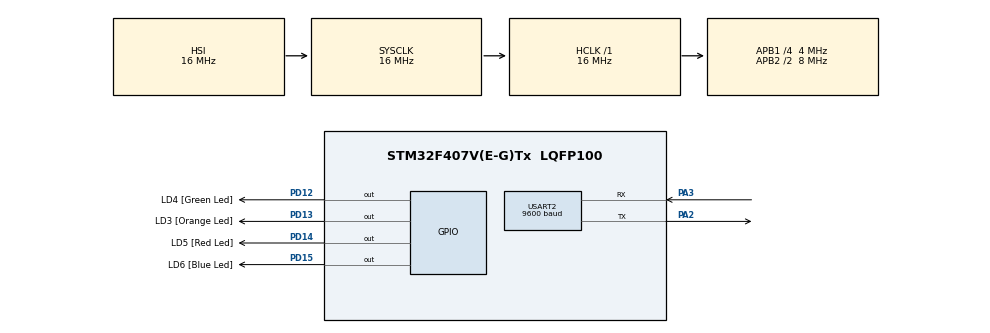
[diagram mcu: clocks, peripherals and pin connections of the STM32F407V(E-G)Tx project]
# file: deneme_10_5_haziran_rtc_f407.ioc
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Mcu.Family=STM32F4
Mcu.Name=STM32F407V(E-G)Tx
Mcu.Package=LQFP100
NVIC.PriorityGroup=NVIC_PRIORITYGROUP_0
NVIC.RCC_IRQn=true\:0\:0\:false\:false\:true\:true\:false\:true
NVIC.USART2_IRQn=true\:0\:0\:false\:false\:true\:true\:true\:true
PA13.Mode=Serial_Wire
PA13.Signal=SYS_JTMS-SWDIO
PA14.Mode=Serial_Wire
PA14.Signal=SYS_JTCK-SWCLK
PA2.Mode=Asynchronous
PA2.Signal=USART2_TX
PA3.Mode=Asynchronous
PA3.Signal=USART2_RX
PC14-OSC32_IN.GPIO_Label=PC14-OSC32_IN
PC14-OSC32_IN.Mode=LSE-External-Oscillator
PC14-OSC32_IN.Signal=RCC_OSC32_IN
PC15-OSC32_OUT.GPIO_Label=PC15-OSC32_OUT
PC15-OSC32_OUT.Mode=LSE-External-Oscillator
PC15-OSC32_OUT.Signal=RCC_OSC32_OUT
PD12.GPIO_Label=LD4 [Green Led]
PD12.GPIO_PuPd=GPIO_NOPULL
PD12.GPIO_Speed=GPIO_SPEED_FREQ_LOW
PD12.Signal=GPIO_Output
PD13.GPIO_Label=LD3 [Orange Led]
PD13.GPIO_PuPd=GPIO_NOPULL
PD13.GPIO_Speed=GPIO_SPEED_FREQ_LOW
PD13.Signal=GPIO_Output
PD14.GPIO_Label=LD5 [Red Led]
PD14.GPIO_PuPd=GPIO_NOPULL
PD14.GPIO_Speed=GPIO_SPEED_FREQ_LOW
PD14.Signal=GPIO_Output
PD15.GPIO_Label=LD6 [Blue Led]
PD15.GPIO_PuPd=GPIO_NOPULL
PD15.GPIO_Speed=GPIO_SPEED_FREQ_LOW
PD15.Signal=GPIO_Output
PH0-OSC_IN.Mode=HSE-External-Oscillator
PH0-OSC_IN.Signal=RCC_OSC_IN
PH1-OSC_OUT.Mode=HSE-External-Oscillator
PH1-OSC_OUT.Signal=RCC_OSC_OUT
ProjectManager.HeapSize=0x200
ProjectManager.StackSize=0x400
ProjectManager.TargetToolchain=STM32CubeIDE
RCC.48MHZClocksFreq_Value=48000000
RCC.AHBFreq_Value=16000000
RCC.APB1CLKDivider=RCC_HCLK_DIV4
RCC.APB1Freq_Value=4000000
RCC.APB1TimFreq_Value=8000000
RCC.APB2CLKDivider=RCC_HCLK_DIV2
RCC.APB2Freq_Value=8000000
RCC.APB2TimFreq_Value=16000000
RCC.CortexFreq_Value=16000000
RCC.HCLKFreq_Value=16000000
RCC.HSE_VALUE=8000000
RCC.HSI_VALUE=16000000
RCC.PLLM=8
RCC.PLLN=168
RCC.PLLQ=7
RCC.SYSCLKFreq_VALUE=16000000
RCC.VCOOutputFreq_Value=336000000
RTC.Format=RTC_FORMAT_BIN
USART2.BaudRate=9600
USART2.VirtualMode=VM_ASYNC
VP_RTC_VS_RTC_Activate.Mode=RTC_Enabled
VP_RTC_VS_RTC_Calendar.Mode=RTC_Calendar
board=STM32F407G-DISC1

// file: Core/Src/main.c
/* USER CODE BEGIN Header */
/**
  ******************************************************************************
  * @file           : main.c
  * @brief          : Main program body
  ******************************************************************************
  * @attention
  *
  * Copyright (c) 2023 STMicroelectronics.
  * All rights reserved.
  *
  * This software is licensed under terms that can be found in the LICENSE file
  * in the root directory of this software component.
  * If no LICENSE file comes with this software, it is provided AS-IS.
  *
  ******************************************************************************
  */
/* USER CODE END Header */
#include "main.h"

RTC_HandleTypeDef hrtc;

UART_HandleTypeDef huart2;

void SystemClock_Config(void);
static void MX_GPIO_Init(void);
static void MX_RTC_Init(void);
static void MX_USART2_UART_Init(void);

/* USER CODE BEGIN 0 */

RTC_TimeTypeDef sTime;
RTC_DateTypeDef sDate;

uint8_t hour, minute, second;
uint8_t day, month, year;

char text_1[20];
char text_2[20];

/* USER CODE END 0 */

int main(void)
{

  /* MCU Configuration--------------------------------------------------------*/

  /* Reset of all peripherals, Initializes the Flash interface and the Systick. */
  HAL_Init();

  /* Configure the system clock */
  SystemClock_Config();

  /* Initialize all configured peripherals */
  MX_GPIO_Init();
  MX_RTC_Init();
  MX_USART2_UART_Init();
  /* USER CODE BEGIN 2 */

  sTime.Hours = 17;
  sTime.Minutes = 25;
  sTime.Seconds = 00;
  HAL_RTC_SetTime(&hrtc, &sTime,RTC_FORMAT_BIN);

  sDate.Date = 05;
  sDate.Month = RTC_MONTH_JUNE;
  sDate.WeekDay = RTC_WEEKDAY_MONDAY;
  sDate.Year = 23;
  HAL_RTC_SetDate(&hrtc, &sDate, RTC_FORMAT_BIN);

  /* USER CODE END 2 */

  /* Infinite loop */
  while (1)
  {

    /* USER CODE BEGIN 3 */
	  HAL_RTC_GetTime(&hrtc, &sTime, RTC_FORMAT_BIN);
	  HAL_RTC_GetDate(&hrtc, &sDate, RTC_FORMAT_BIN);
	  HAL_GPIO_TogglePin(GPIOD, GPIO_PIN_13);

	  hour = sTime.Hours;
	  minute = sTime.Minutes;
	  second = sTime.Seconds;

	  day = sDate.Date;
	  month = sDate.Month;
	  year = sDate.Year;

	  HAL_UART_Transmit(&huart2, (uint8_t*)text_1, sprintf(text_1, "Time: %d: %d: %d\n", hour, minute, second), 100);
	  HAL_UART_Transmit(&huart2, (uint8_t*)text_2, sprintf(text_2, "Date: %d: %d: 20%d\n", day, month, year), 100);
	  HAL_Delay(100);

  }
  /* USER CODE END 3 */
}

void SystemClock_Config(void)
{
  RCC_OscInitTypeDef RCC_OscInitStruct = {0};
  RCC_ClkInitTypeDef RCC_ClkInitStruct = {0};

  /** Configure the main internal regulator output voltage
  */
  __HAL_RCC_PWR_CLK_ENABLE();
  __HAL_PWR_VOLTAGESCALING_CONFIG(PWR_REGULATOR_VOLTAGE_SCALE1);

  /** Initializes the RCC Oscillators according to the specified parameters
  * in the RCC_OscInitTypeDef structure.
  */
  RCC_OscInitStruct.OscillatorType = RCC_OSCILLATORTYPE_HSI|RCC_OSCILLATORTYPE_LSI;
  RCC_OscInitStruct.HSIState = RCC_HSI_ON;
  RCC_OscInitStruct.HSICalibrationValue = RCC_HSICALIBRATION_DEFAULT;
  RCC_OscInitStruct.LSIState = RCC_LSI_ON;
  RCC_OscInitStruct.PLL.PLLState = RCC_PLL_NONE;
  if (HAL_RCC_OscConfig(&RCC_OscInitStruct) != HAL_OK)
  {
    Error_Handler();
  }

  /** Initializes the CPU, AHB and APB buses clocks
  */
  RCC_ClkInitStruct.ClockType = RCC_CLOCKTYPE_HCLK|RCC_CLOCKTYPE_SYSCLK
                              |RCC_CLOCKTYPE_PCLK1|RCC_CLOCKTYPE_PCLK2;
  RCC_ClkInitStruct.SYSCLKSource = RCC_SYSCLKSOURCE_HSI;
  RCC_ClkInitStruct.AHBCLKDivider = RCC_SYSCLK_DIV1;
  RCC_ClkInitStruct.APB1CLKDivider = RCC_HCLK_DIV4;
  RCC_ClkInitStruct.APB2CLKDivider = RCC_HCLK_DIV2;

  if (HAL_RCC_ClockConfig(&RCC_ClkInitStruct, FLASH_LATENCY_0) != HAL_OK)
  {
    Error_Handler();
  }
}

static void MX_RTC_Init(void)
{

  RTC_TimeTypeDef sTime = {0};
  RTC_DateTypeDef sDate = {0};

  /** Initialize RTC Only
  */
  hrtc.Instance = RTC;
  hrtc.Init.HourFormat = RTC_HOURFORMAT_24;
  hrtc.Init.AsynchPrediv = 127;
  hrtc.Init.SynchPrediv = 255;
  hrtc.Init.OutPut = RTC_OUTPUT_DISABLE;
  hrtc.Init.OutPutPolarity = RTC_OUTPUT_POLARITY_HIGH;
  hrtc.Init.OutPutType = RTC_OUTPUT_TYPE_OPENDRAIN;
  if (HAL_RTC_Init(&hrtc) != HAL_OK)
  {
    Error_Handler();
  }

  /** Initialize RTC and set the Time and Date
  */
  sTime.Hours = 0;
  sTime.Minutes = 0;
  sTime.Seconds = 0;
  sTime.DayLightSaving = RTC_DAYLIGHTSAVING_NONE;
  sTime.StoreOperation = RTC_STOREOPERATION_RESET;
  if (HAL_RTC_SetTime(&hrtc, &sTime, RTC_FORMAT_BIN) != HAL_OK)
  {
    Error_Handler();
  }
  sDate.WeekDay = RTC_WEEKDAY_MONDAY;
  sDate.Month = RTC_MONTH_JANUARY;
  sDate.Date = 1;
  sDate.Year = 0;

  if (HAL_RTC_SetDate(&hrtc, &sDate, RTC_FORMAT_BIN) != HAL_OK)
  {
    Error_Handler();
  }

}

static void MX_USART2_UART_Init(void)
{

  huart2.Instance = USART2;
  huart2.Init.BaudRate = 9600;
  huart2.Init.WordLength = UART_WORDLENGTH_8B;
  huart2.Init.StopBits = UART_STOPBITS_1;
  huart2.Init.Parity = UART_PARITY_NONE;
  huart2.Init.Mode = UART_MODE_TX_RX;
  huart2.Init.HwFlowCtl = UART_HWCONTROL_NONE;
  huart2.Init.OverSampling = UART_OVERSAMPLING_16;
  if (HAL_UART_Init(&huart2) != HAL_OK)
  {
    Error_Handler();
  }

}

static void MX_GPIO_Init(void)
{
  GPIO_InitTypeDef GPIO_InitStruct = {0};

  /* GPIO Ports Clock Enable */
  __HAL_RCC_GPIOC_CLK_ENABLE();
  __HAL_RCC_GPIOH_CLK_ENABLE();
  __HAL_RCC_GPIOA_CLK_ENABLE();
  __HAL_RCC_GPIOD_CLK_ENABLE();

  /*Configure GPIO pin Output Level */
  HAL_GPIO_WritePin(GPIOD, LD4_Pin|LD3_Pin|LD5_Pin|LD6_Pin, GPIO_PIN_RESET);

  /*Configure GPIO pins : LD4_Pin LD3_Pin LD5_Pin LD6_Pin */
  GPIO_InitStruct.Pin = LD4_Pin|LD3_Pin|LD5_Pin|LD6_Pin;
  GPIO_InitStruct.Mode = GPIO_MODE_OUTPUT_PP;
  GPIO_InitStruct.Pull = GPIO_NOPULL;
  GPIO_InitStruct.Speed = GPIO_SPEED_FREQ_LOW;
  HAL_GPIO_Init(GPIOD, &GPIO_InitStruct);

}

void Error_Handler(void)
{
  __disable_irq();
  while (1)
  {
  }
}
